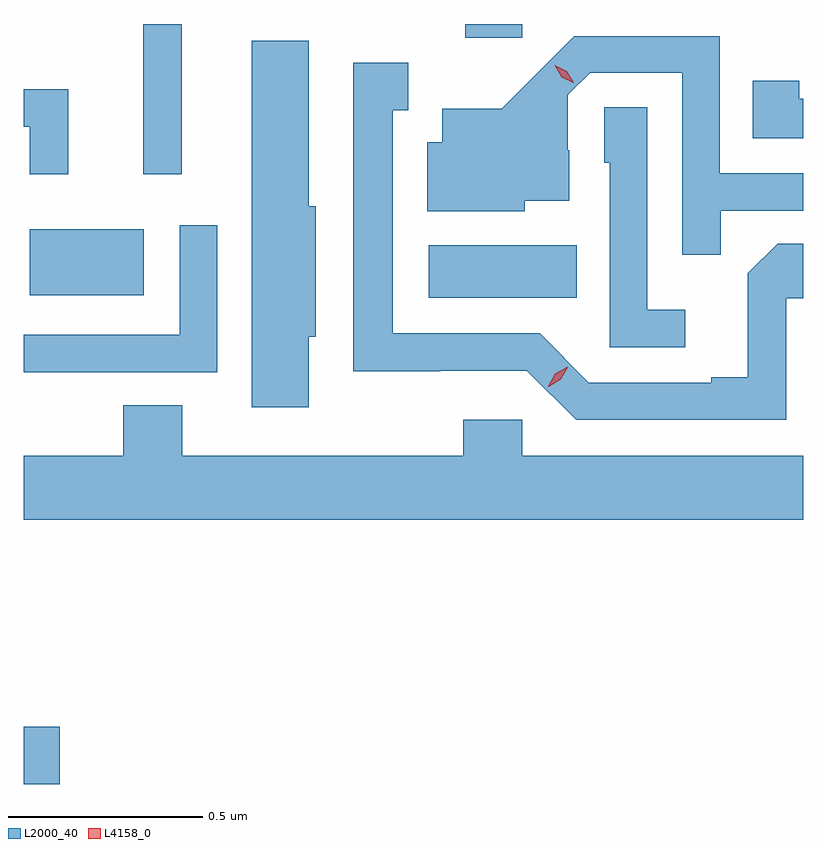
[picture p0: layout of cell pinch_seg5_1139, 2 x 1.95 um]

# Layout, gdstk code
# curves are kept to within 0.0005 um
import gdstk
lib = gdstk.Library(unit=1e-6, precision=1e-09)
def R(c, l, rs):  # rectangles x0, y0, x1, y1
    for r in rs: c.add(gdstk.rectangle(r[:2], r[2:], *l))
def P(c, l, *ps):  # polygons
    for p in ps: c.add(gdstk.Polygon(p, *l))
L2000_40 = (2000, 40)
L4158_0 = (4158, 0)

pinch_seg5_1139 = lib.new_cell('pinch_seg5_1139')
R(pinch_seg5_1139, L2000_40, [(762.377,842.762,762.469,842.909), (763.416,844.01,763.796,844.144), (762.392,844.016,762.685,844.186), (762.683,844.326,762.782,844.712), (763.51,844.677,763.656,844.712)])
P(pinch_seg5_1139, L2000_40, [(764.165,844.233),(764.377,844.233),(764.377,844.329),(764.163,844.329),(764.163,844.68),(763.79,844.68),(763.603,844.495),(763.451,844.495),(763.451,844.408),(763.412,844.408),(763.412,844.232),(763.662,844.232),(763.662,844.259),(763.777,844.259),(763.777,844.388),(763.773,844.388),(763.773,844.53),(763.83,844.587),(764.067,844.587),(764.067,844.12),(764.165,844.12)],
  [(763.108,843.909),(763.126,843.909),(763.126,844.245),(763.108,844.245),(763.108,844.669),(762.962,844.669),(762.962,843.729),(763.108,843.729)],
  [(764.334,844.008),(764.377,844.008),(764.377,844.148),(764.311,844.148),(764.235,844.072),(764.235,843.805),(764.141,843.805),(764.141,843.792),(763.827,843.792),(763.701,843.918),(763.324,843.918),(763.324,844.491),(763.363,844.491),(763.363,844.612),(763.223,844.612),(763.223,843.821),(763.446,843.821),(763.446,843.822),(763.668,843.822),(763.794,843.696),(764.334,843.696)],
  [(764.377,844.52),(764.367,844.52),(764.367,844.567),(764.248,844.567),(764.248,844.419),(764.377,844.419)],
  [(762.491,844.545),(762.377,844.545),(762.377,844.449),(762.393,844.449),(762.393,844.326),(762.491,844.326)],
  [(764.074,843.979),(763.977,843.979),(763.977,844.499),(763.866,844.499),(763.866,844.356),(763.881,844.356),(763.881,843.882),(764.074,843.882)],
  [(762.548,843.819),(762.873,843.819),(762.873,844.195),(762.777,844.195),(762.777,843.915),(762.377,843.915),(762.377,843.818),(762.548,843.818)],
  [(764.377,843.604),(763.656,843.604),(763.656,843.697),(763.505,843.697),(763.505,843.604),(762.784,843.604),(762.784,843.734),(762.632,843.734),(762.632,843.604),(762.377,843.604),(762.377,843.44),(764.377,843.44)])
P(pinch_seg5_1139, L4158_0, [(763.787,844.561),(763.757,844.576),(763.739,844.606),(763.739,844.606),(763.74,844.606),(763.77,844.591),(763.788,844.561),(763.788,844.561)],
  [(763.723,843.781),(763.723,843.782),(763.741,843.814),(763.773,843.832),(763.773,843.832),(763.773,843.831),(763.755,843.8),(763.724,843.781)])

lib.write_gds('pinch_seg5_1139.gds')
